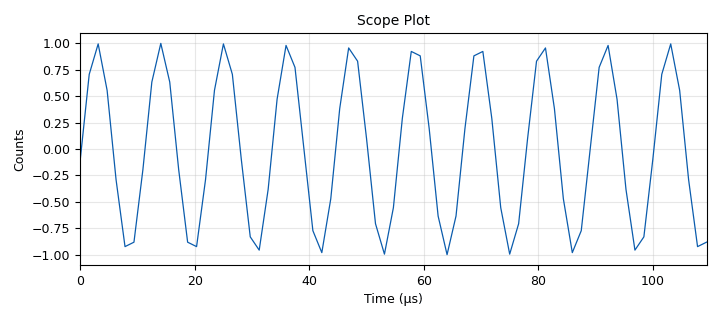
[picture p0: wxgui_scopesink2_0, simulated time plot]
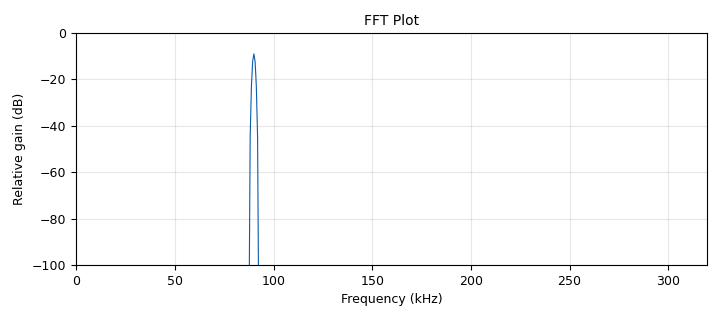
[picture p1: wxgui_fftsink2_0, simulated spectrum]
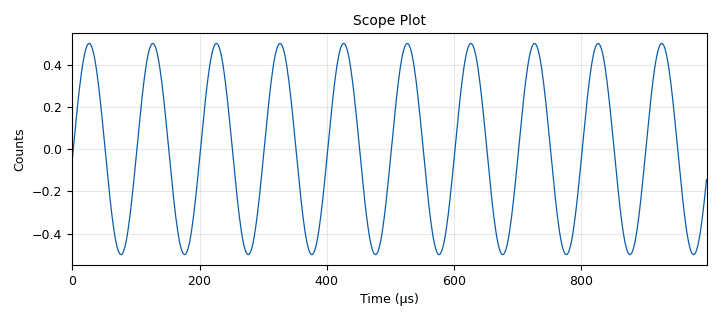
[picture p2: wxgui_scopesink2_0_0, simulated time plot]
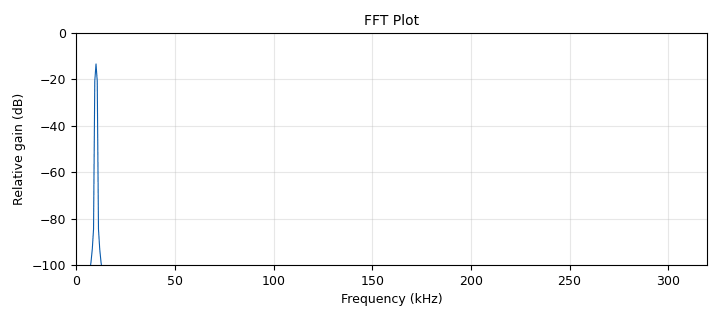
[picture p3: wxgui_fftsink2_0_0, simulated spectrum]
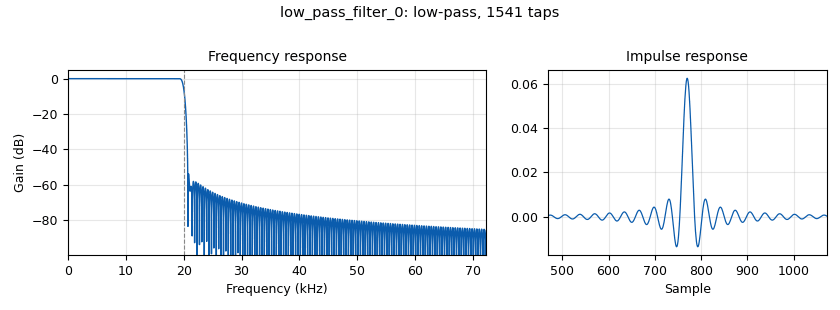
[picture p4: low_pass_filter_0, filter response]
<?xml version='1.0' encoding='utf-8'?>
<flow_graph>
<block>
<key>options</key>
<param><key>id</key><value>top_block</value></param>
<param><key>generate_options</key><value>wx_gui</value></param>
<param><key>category</key><value>Custom</value></param>
</block>
<block>
<key>variable</key>
<param><key>id</key><value>samp_rate</value></param>
<param><key>value</key><value>640000</value></param>
</block>
<block>
<key>analog_sig_source_x</key>
<param><key>id</key><value>analog_sig_source_x_0_1</value></param>
<param><key>type</key><value>float</value></param>
<param><key>samp_rate</key><value>samp_rate</value></param>
<param><key>waveform</key><value>analog.GR_SIN_WAVE</value></param>
<param><key>freq</key><value>10000</value></param>
<param><key>amp</key><value>1</value></param>
<param><key>offset</key><value>0</value></param>
</block>
<block>
<key>analog_sig_source_x</key>
<param><key>id</key><value>analog_sig_source_x_0_1_0</value></param>
<param><key>type</key><value>float</value></param>
<param><key>samp_rate</key><value>samp_rate</value></param>
<param><key>waveform</key><value>analog.GR_SIN_WAVE</value></param>
<param><key>freq</key><value>100000</value></param>
<param><key>amp</key><value>1</value></param>
<param><key>offset</key><value>0</value></param>
</block>
<block>
<key>blocks_throttle</key>
<param><key>id</key><value>blocks_throttle_0_0</value></param>
<param><key>type</key><value>float</value></param>
<param><key>samples_per_second</key><value>samp_rate</value></param>
</block>
<block>
<key>blocks_throttle</key>
<param><key>id</key><value>blocks_throttle_0_1</value></param>
<param><key>type</key><value>float</value></param>
<param><key>samples_per_second</key><value>samp_rate</value></param>
</block>
<block>
<key>blocks_throttle</key>
<param><key>id</key><value>blocks_throttle_0_2</value></param>
<param><key>type</key><value>float</value></param>
<param><key>samples_per_second</key><value>samp_rate</value></param>
</block>
<block>
<key>wxgui_scopesink2</key>
<param><key>id</key><value>wxgui_scopesink2_0</value></param>
<param><key>type</key><value>float</value></param>
<param><key>title</key><value>Scope Plot</value></param>
<param><key>samp_rate</key><value>samp_rate</value></param>
<param><key>v_scale</key><value>0</value></param>
<param><key>v_offset</key><value>0</value></param>
<param><key>t_scale</key><value>0</value></param>
<param><key>ac_couple</key><value>False</value></param>
<param><key>xy_mode</key><value>False</value></param>
<param><key>num_inputs</key><value>1</value></param>
<param><key>notebook</key><value>notebook_0,1</value></param>
<param><key>trig_mode</key><value>wxgui.TRIG_MODE_AUTO</value></param>
<param><key>y_axis_label</key><value>Counts</value></param>
</block>
<block>
<key>wxgui_fftsink2</key>
<param><key>id</key><value>wxgui_fftsink2_0</value></param>
<param><key>type</key><value>float</value></param>
<param><key>title</key><value>FFT Plot</value></param>
<param><key>samp_rate</key><value>samp_rate</value></param>
<param><key>baseband_freq</key><value>0</value></param>
<param><key>y_per_div</key><value>10</value></param>
<param><key>y_divs</key><value>10</value></param>
<param><key>ref_level</key><value>0</value></param>
<param><key>ref_scale</key><value>2.0</value></param>
<param><key>fft_size</key><value>1024</value></param>
<param><key>fft_rate</key><value>15</value></param>
<param><key>peak_hold</key><value>False</value></param>
<param><key>average</key><value>False</value></param>
<param><key>avg_alpha</key><value>0</value></param>
<param><key>win</key><value>None</value></param>
<param><key>notebook</key><value>notebook_0 ,0</value></param>
<param><key>freqvar</key><value>None</value></param>
</block>
<block>
<key>blocks_add_xx</key>
<param><key>id</key><value>blocks_add_xx_0</value></param>
<param><key>type</key><value>float</value></param>
</block>
<block>
<key>blocks_throttle</key>
<param><key>id</key><value>blocks_throttle_0</value></param>
<param><key>type</key><value>float</value></param>
<param><key>samples_per_second</key><value>samp_rate</value></param>
</block>
<block>
<key>wxgui_scopesink2</key>
<param><key>id</key><value>wxgui_scopesink2_0_0</value></param>
<param><key>type</key><value>float</value></param>
<param><key>title</key><value>Scope Plot</value></param>
<param><key>samp_rate</key><value>samp_rate</value></param>
<param><key>v_scale</key><value>0</value></param>
<param><key>v_offset</key><value>0</value></param>
<param><key>t_scale</key><value>0</value></param>
<param><key>ac_couple</key><value>False</value></param>
<param><key>xy_mode</key><value>False</value></param>
<param><key>num_inputs</key><value>1</value></param>
<param><key>notebook</key><value>notebook_0,3</value></param>
<param><key>trig_mode</key><value>wxgui.TRIG_MODE_AUTO</value></param>
<param><key>y_axis_label</key><value>Counts</value></param>
</block>
<block>
<key>wxgui_fftsink2</key>
<param><key>id</key><value>wxgui_fftsink2_0_0</value></param>
<param><key>type</key><value>float</value></param>
<param><key>title</key><value>FFT Plot</value></param>
<param><key>samp_rate</key><value>samp_rate</value></param>
<param><key>baseband_freq</key><value>0</value></param>
<param><key>y_per_div</key><value>10</value></param>
<param><key>y_divs</key><value>10</value></param>
<param><key>ref_level</key><value>0</value></param>
<param><key>ref_scale</key><value>2.0</value></param>
<param><key>fft_size</key><value>1024</value></param>
<param><key>fft_rate</key><value>15</value></param>
<param><key>peak_hold</key><value>False</value></param>
<param><key>average</key><value>False</value></param>
<param><key>avg_alpha</key><value>0</value></param>
<param><key>win</key><value>window.hamming</value></param>
<param><key>notebook</key><value>notebook_0 ,2</value></param>
<param><key>freqvar</key><value>None</value></param>
</block>
<block>
<key>notebook</key>
<param><key>id</key><value>notebook_0</value></param>
<param><key>style</key><value>wx.NB_TOP</value></param>
<param><key>labels</key><value>['fft','scope','fftDe','scopeDe']</value></param>
</block>
<block>
<key>blocks_multiply_xx</key>
<param><key>id</key><value>blocks_multiply_xx_0_0_0</value></param>
<param><key>type</key><value>float</value></param>
</block>
<block>
<key>low_pass_filter</key>
<param><key>id</key><value>low_pass_filter_0</value></param>
<param><key>type</key><value>fir_filter_fff</value></param>
<param><key>decim</key><value>1</value></param>
<param><key>gain</key><value>1</value></param>
<param><key>samp_rate</key><value>samp_rate</value></param>
<param><key>cutoff_freq</key><value>20000</value></param>
<param><key>width</key><value>1000</value></param>
<param><key>win</key><value>firdes.WIN_HAMMING</value></param>
</block>
<block>
<key>blocks_multiply_xx</key>
<param><key>id</key><value>blocks_multiply_xx_0</value></param>
<param><key>type</key><value>float</value></param>
</block>
<block>
<key>blocks_multiply_xx</key>
<param><key>id</key><value>blocks_multiply_xx_0_0</value></param>
<param><key>type</key><value>float</value></param>
</block>
<block>
<key>analog_sig_source_x</key>
<param><key>id</key><value>analog_sig_source_x_0</value></param>
<param><key>type</key><value>float</value></param>
<param><key>samp_rate</key><value>samp_rate</value></param>
<param><key>waveform</key><value>analog.GR_COS_WAVE</value></param>
<param><key>freq</key><value>100000</value></param>
<param><key>amp</key><value>1</value></param>
<param><key>offset</key><value>0</value></param>
</block>
<block>
<key>analog_sig_source_x</key>
<param><key>id</key><value>analog_sig_source_x_0_0</value></param>
<param><key>type</key><value>float</value></param>
<param><key>samp_rate</key><value>samp_rate</value></param>
<param><key>waveform</key><value>analog.GR_COS_WAVE</value></param>
<param><key>freq</key><value>10000</value></param>
<param><key>amp</key><value>1</value></param>
<param><key>offset</key><value>0</value></param>
</block>
<connection><source_block_id>analog_sig_source_x_0_0</source_block_id><sink_block_id>blocks_throttle_0_2</sink_block_id><source_key>0</source_key><sink_key>0</sink_key></connection>
<connection><source_block_id>analog_sig_source_x_0</source_block_id><sink_block_id>blocks_throttle_0</sink_block_id><source_key>0</source_key><sink_key>0</sink_key></connection>
<connection><source_block_id>analog_sig_source_x_0_1</source_block_id><sink_block_id>blocks_throttle_0_0</sink_block_id><source_key>0</source_key><sink_key>0</sink_key></connection>
<connection><source_block_id>analog_sig_source_x_0_1_0</source_block_id><sink_block_id>blocks_throttle_0_1</sink_block_id><source_key>0</source_key><sink_key>0</sink_key></connection>
<connection><source_block_id>blocks_throttle_0_0</source_block_id><sink_block_id>blocks_multiply_xx_0_0</sink_block_id><source_key>0</source_key><sink_key>0</sink_key></connection>
<connection><source_block_id>blocks_throttle_0_1</source_block_id><sink_block_id>blocks_multiply_xx_0_0</sink_block_id><source_key>0</source_key><sink_key>1</sink_key></connection>
<connection><source_block_id>blocks_throttle_0_2</source_block_id><sink_block_id>blocks_multiply_xx_0</sink_block_id><source_key>0</source_key><sink_key>0</sink_key></connection>
<connection><source_block_id>blocks_throttle_0</source_block_id><sink_block_id>blocks_multiply_xx_0</sink_block_id><source_key>0</source_key><sink_key>1</sink_key></connection>
<connection><source_block_id>blocks_multiply_xx_0_0</source_block_id><sink_block_id>blocks_add_xx_0</sink_block_id><source_key>0</source_key><sink_key>1</sink_key></connection>
<connection><source_block_id>blocks_multiply_xx_0</source_block_id><sink_block_id>blocks_add_xx_0</sink_block_id><source_key>0</source_key><sink_key>0</sink_key></connection>
<connection><source_block_id>blocks_add_xx_0</source_block_id><sink_block_id>wxgui_scopesink2_0</sink_block_id><source_key>0</source_key><sink_key>0</sink_key></connection>
<connection><source_block_id>blocks_add_xx_0</source_block_id><sink_block_id>wxgui_fftsink2_0</sink_block_id><source_key>0</source_key><sink_key>0</sink_key></connection>
<connection><source_block_id>blocks_add_xx_0</source_block_id><sink_block_id>blocks_multiply_xx_0_0_0</sink_block_id><source_key>0</source_key><sink_key>0</sink_key></connection>
<connection><source_block_id>blocks_throttle_0</source_block_id><sink_block_id>blocks_multiply_xx_0_0_0</sink_block_id><source_key>0</source_key><sink_key>1</sink_key></connection>
<connection><source_block_id>low_pass_filter_0</source_block_id><sink_block_id>wxgui_scopesink2_0_0</sink_block_id><source_key>0</source_key><sink_key>0</sink_key></connection>
<connection><source_block_id>low_pass_filter_0</source_block_id><sink_block_id>wxgui_fftsink2_0_0</sink_block_id><source_key>0</source_key><sink_key>0</sink_key></connection>
<connection><source_block_id>blocks_multiply_xx_0_0_0</source_block_id><sink_block_id>low_pass_filter_0</sink_block_id><source_key>0</source_key><sink_key>0</sink_key></connection>
</flow_graph>
